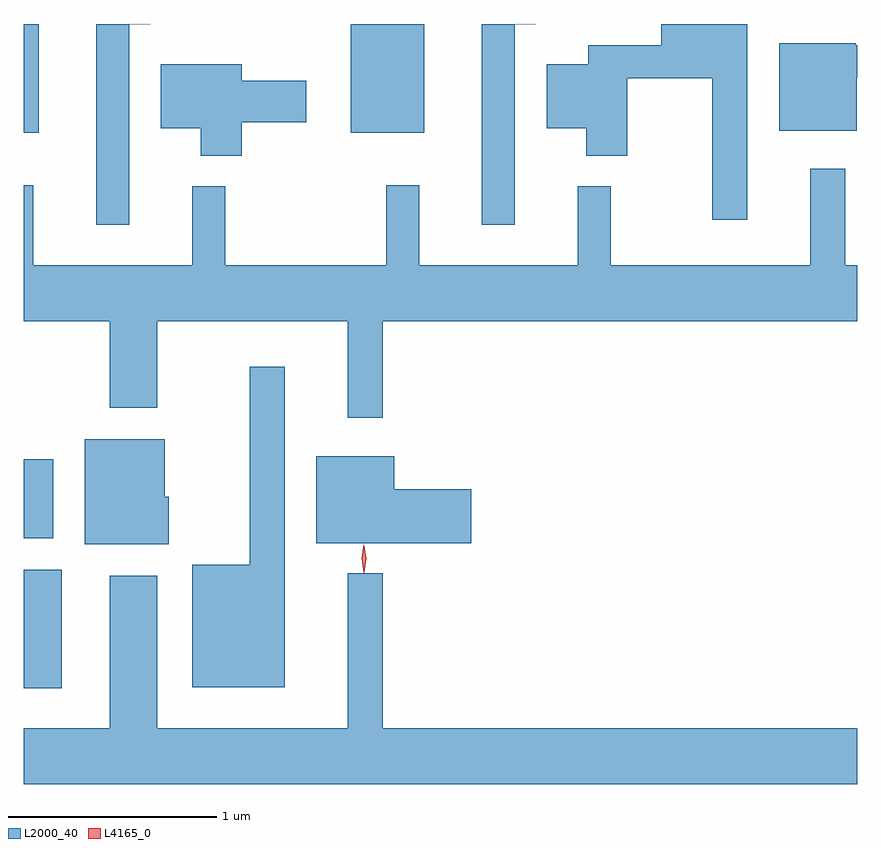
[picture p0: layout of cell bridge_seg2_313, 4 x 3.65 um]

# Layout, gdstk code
import gdstk
lib = gdstk.Library(unit=1e-6, precision=1e-09)
def R(c, l, rs):  # rectangles x0, y0, x1, y1
    for r in rs: c.add(gdstk.rectangle(r[:2], r[2:], *l))
def P(c, l, *ps):  # polygons
    for p in ps: c.add(gdstk.Polygon(p, *l))
L2000_40 = (2000, 40)
L4165_0 = (4165, 0)

bridge_seg2_313 = lib.new_cell('bridge_seg2_313')
R(bridge_seg2_313, L2000_40, [(442.747,1079.856,442.929,1080.424), (442.747,1080.576,442.889,1080.954), (442.747,1082.521,442.819,1083.042), (444.316,1082.521,444.669,1083.042)])
P(bridge_seg2_313, L2000_40, [(446.219,1083.042),(445.806,1083.042),(445.806,1082.939),(445.456,1082.939),(445.456,1082.849),(445.256,1082.849),(445.256,1082.541),(445.446,1082.541),(445.446,1082.411),(445.644,1082.411),(445.644,1082.781),(446.051,1082.781),(446.051,1082.103),(446.219,1082.103)],
  [(445.104,1083.041),(445.204,1083.041),(445.204,1083.042),(444.946,1083.042),(444.946,1082.078),(445.104,1082.078)],
  [(443.254,1083.041),(443.354,1083.041),(443.354,1083.042),(443.096,1083.042),(443.096,1082.078),(443.254,1082.078)],
  [(446.744,1082.781),(446.747,1082.781),(446.747,1082.939),(446.74,1082.939),(446.74,1082.949),(446.371,1082.949),(446.371,1082.531),(446.744,1082.531)],
  [(443.794,1082.571),(444.104,1082.571),(444.104,1082.769),(443.794,1082.769),(443.794,1082.849),(443.406,1082.849),(443.406,1082.541),(443.596,1082.541),(443.596,1082.411),(443.794,1082.411)],
  [(444.469,1081.616),(446.747,1081.616),(446.747,1081.884),(446.689,1081.884),(446.689,1082.348),(446.521,1082.348),(446.521,1081.884),(445.564,1081.884),(445.564,1082.263),(445.406,1082.263),(445.406,1081.884),(444.644,1081.884),(444.644,1082.268),(444.486,1082.268),(444.486,1081.884),(443.714,1081.884),(443.714,1082.263),(443.556,1082.263),(443.556,1081.884),(442.794,1081.884),(442.794,1082.268),(442.747,1082.268),(442.747,1081.616),(443.161,1081.616),(443.161,1081.201),(443.389,1081.201),(443.389,1081.616),(444.301,1081.616),(444.301,1081.153),(444.469,1081.153)],
  [(443.999,1081.398),(443.831,1081.398),(443.831,1080.449),(443.556,1080.449),(443.556,1079.861),(443.999,1079.861)],
  [(443.444,1080.774),(443.424,1080.774),(443.424,1081.049),(443.041,1081.049),(443.041,1080.546),(443.444,1080.546)],
  [(444.894,1080.809),(444.524,1080.809),(444.524,1080.969),(444.151,1080.969),(444.151,1080.551),(444.894,1080.551)],
  [(446.747,1079.664),(444.469,1079.664),(444.469,1080.408),(444.301,1080.408),(444.301,1079.664),(443.389,1079.664),(443.389,1080.394),(443.161,1080.394),(443.161,1079.664),(442.747,1079.664),(442.747,1079.396),(446.747,1079.396)])
P(bridge_seg2_313, L4165_0, [(444.381,1080.413),(444.38,1080.414),(444.371,1080.476),(444.38,1080.54),(444.38,1080.54),(444.381,1080.54),(444.391,1080.476),(444.381,1080.414)],
  [(444.38,1080.41),(444.37,1080.478),(444.379,1080.545),(444.38,1080.546),(444.38,1080.545),(444.39,1080.478),(444.381,1080.41),(444.381,1080.41)])

lib.write_gds('bridge_seg2_313.gds')
